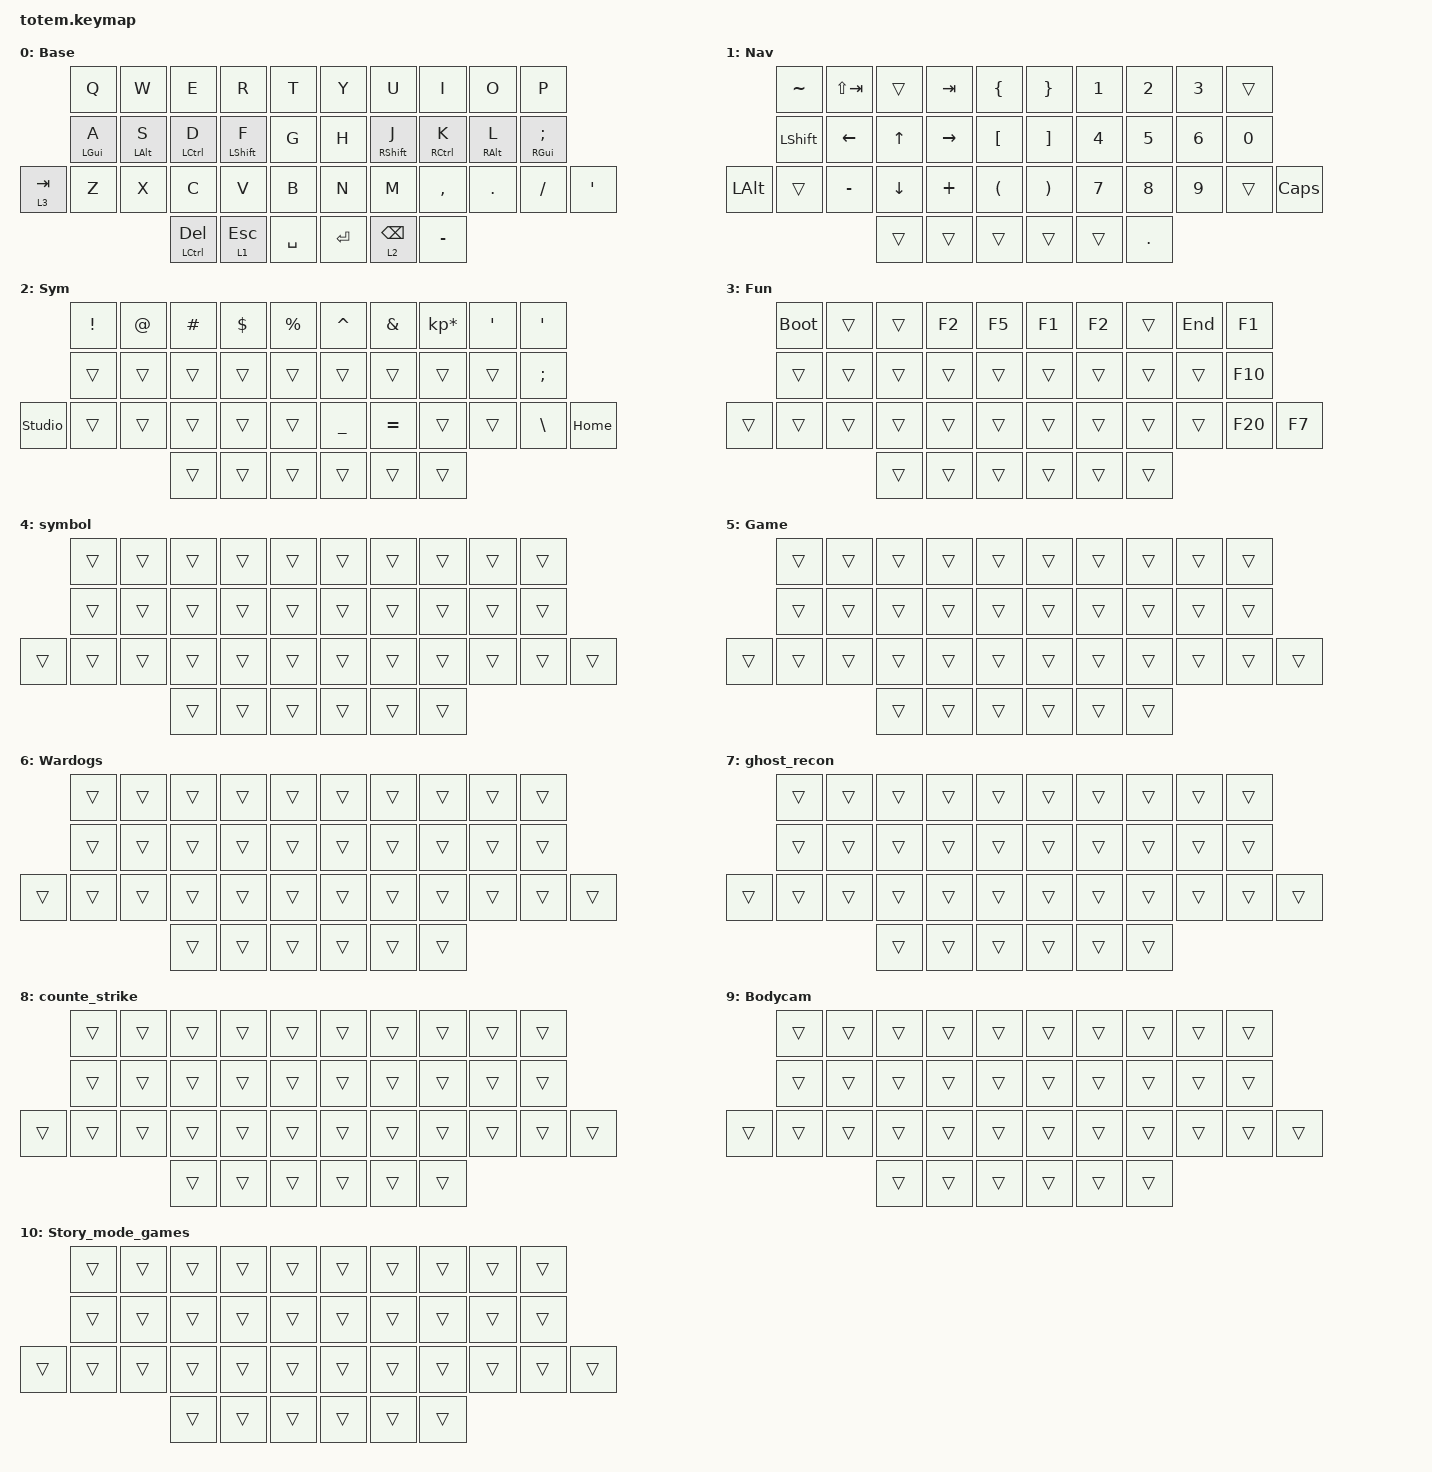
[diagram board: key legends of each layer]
//
//                                                        ▀▀▀▀▀     ▀▀▀▀▀          ▀▀█▀▀
//                                                        ▄▀▀▀▄  ▄  ▄▀▀▀▄  ▄  ▄▀▀▀▄  █  ▄▀▀▀▄
//                                                        █   █  █  █   █  █  █   █  █  █   █
//                                                         ▀▀▀   █   ▀▀▀   █   ▀▀▀   ▀   ▀▀▀
//                                                               █      ▄▄▄█▄▄▄    █   █  
//                                                               ▀      █  █  █     █▄█
//                                                             ▀▀▀▀▀    █  █  █      ▀
//                                                                      ▀  ▀  ▀
//
// ▄▄▄▄▄▄▄▄▄▄▄▄▄▄▄▄▄▄▄▄▄▄▄▄▄▄▄▄▄▄▄▄▄▄▄▄▄▄▄▄▄▄▄▄▄▄▄▄▄▄▄▄▄▄▄▄▄▄▄▄▄▄▄▄▄▄▄▄▄▄▄▄▄▄▄▄▄▄▄▄▄▄▄▄▄▄▄▄▄▄▄▄▄▄▄▄▄▄▄▄▄▄▄▄▄▄▄▄▄▄▄▄▄▄▄▄▄▄▄▄▄▄▄▄▄▄▄▄▄▄▄▄▄▄▄▄▄▄▄▄▄▄▄▄▄▄▄▄▄

#include <behaviors.dtsi>
#include <dt-bindings/zmk/keys.h>

#define Base        0
#define Nav         1
#define Sym         2
#define Fun         3
#define Game        4
#define Gameplus    5

&mt {
    quick-tap-ms = <100>;
    global-quick-tap;
    flavor = "tap-preferred";
    tapping-term-ms = <170>;
};

&lt {
    tapping-term-ms = <240>;
    flavor = "balanced";
    quick-tap-ms = <150>;
};

/ {
    behaviors {
        hm: homerow_mods {
            compatible = "zmk,behavior-hold-tap";
            label = "HOMEROW_MODS";
            #binding-cells = <2>;
            flavor = "tap-preferred";
            tapping-term-ms = <350>;
            quick-tap-ms = <125>;
            global-quick-tap;
            bindings = <&kp>, <&kp>;
        };
    };

    combos { compatible = "zmk,combos"; };

    keymap {
        compatible = "zmk,keymap";

        Base {
            display-name = "Base";
            bindings = <
           &kp Q       &kp W       &kp E          &kp R         &kp T        &kp Y    &kp U        &kp I        &kp O       &kp P
           &hm LGUI A  &hm LALT S  &hm LCTRL D    &hm LSHIFT F  &kp G        &kp H    &hm RSHFT J  &hm RCTRL K  &hm RALT L  &hm RGUI SEMICOLON
&lt 3 TAB  &kp Z       &kp X       &kp C          &kp V         &kp B        &kp N    &kp M        &kp COMMA    &kp DOT     &kp SLASH           &kp APOSTROPHE
                                   &mt LCTRL DEL  &lt 1 ESC     &kp SPACE    &kp RET  &lt 2 BSPC   &kp MINUS
            >;
        };

        Nav {
            display-name = "Nav";
            bindings = <
              &kp TILDE       &kp LS(TAB)  &trans        &kp TAB    &kp LBRC    &kp RBRC  &kp NUMBER_1  &kp NUMBER_2  &kp NUMBER_3  &trans
              &kp LEFT_SHIFT  &kp LEFT     &kp UP_ARROW  &kp RIGHT  &kp LBKT    &kp RBKT  &kp NUMBER_4  &kp NUMBER_5  &kp NUMBER_6  &kp NUMBER_0
&kp LEFT_ALT  &trans          &kp MINUS    &kp DOWN      &kp PLUS   &kp LPAR    &kp RPAR  &kp NUMBER_7  &kp NUMBER_8  &kp NUMBER_9  &trans        &kp CAPS
                                           &trans        &trans     &trans      &trans    &trans        &kp DOT
            >;
        };

        Sym {
            display-name = "Sym";
            bindings = <
                &kp EXCL  &kp AT  &kp HASH  &kp DOLLAR  &kp PERCENT    &kp CARET  &kp AMPERSAND  &kp KP_ASTERISK  &kp SINGLE_QUOTE  &kp SINGLE_QUOTE
                &trans    &trans  &trans    &trans      &trans         &trans     &trans         &trans           &trans            &kp SEMI
&studio_unlock  &trans    &trans  &trans    &trans      &trans         &kp UNDER  &kp EQUAL      &trans           &trans            &kp BACKSLASH     &kp HOME
                                  &trans    &trans      &trans         &trans     &trans         &trans
            >;
        };

        Fun {
            display-name = "Fun";
            bindings = <
        &bootloader  &trans  &trans  &kp F2  &kp F5    &kp F1  &kp F2  &trans  &kp END  &kp F1
        &trans       &trans  &trans  &trans  &trans    &trans  &trans  &trans  &trans   &kp F10
&trans  &trans       &trans  &trans  &trans  &trans    &trans  &trans  &trans  &trans   &kp F20  &kp F7
                             &trans  &trans  &trans    &trans  &trans  &trans
            >;
        };

        symbol {
            bindings = <
        &trans  &trans  &trans  &trans  &trans    &trans  &trans  &trans  &trans  &trans
        &trans  &trans  &trans  &trans  &trans    &trans  &trans  &trans  &trans  &trans
&trans  &trans  &trans  &trans  &trans  &trans    &trans  &trans  &trans  &trans  &trans  &trans
                        &trans  &trans  &trans    &trans  &trans  &trans
            >;
        };

        Game {
            bindings = <
        &trans  &trans  &trans  &trans  &trans    &trans  &trans  &trans  &trans  &trans
        &trans  &trans  &trans  &trans  &trans    &trans  &trans  &trans  &trans  &trans
&trans  &trans  &trans  &trans  &trans  &trans    &trans  &trans  &trans  &trans  &trans  &trans
                        &trans  &trans  &trans    &trans  &trans  &trans
            >;
        };

        Wardogs {
            bindings = <
        &trans  &trans  &trans  &trans  &trans    &trans  &trans  &trans  &trans  &trans
        &trans  &trans  &trans  &trans  &trans    &trans  &trans  &trans  &trans  &trans
&trans  &trans  &trans  &trans  &trans  &trans    &trans  &trans  &trans  &trans  &trans  &trans
                        &trans  &trans  &trans    &trans  &trans  &trans
            >;
        };

        ghost_recon {
            bindings = <
        &trans  &trans  &trans  &trans  &trans    &trans  &trans  &trans  &trans  &trans
        &trans  &trans  &trans  &trans  &trans    &trans  &trans  &trans  &trans  &trans
&trans  &trans  &trans  &trans  &trans  &trans    &trans  &trans  &trans  &trans  &trans  &trans
                        &trans  &trans  &trans    &trans  &trans  &trans
            >;
        };

        counte_strike {
            bindings = <
        &trans  &trans  &trans  &trans  &trans    &trans  &trans  &trans  &trans  &trans
        &trans  &trans  &trans  &trans  &trans    &trans  &trans  &trans  &trans  &trans
&trans  &trans  &trans  &trans  &trans  &trans    &trans  &trans  &trans  &trans  &trans  &trans
                        &trans  &trans  &trans    &trans  &trans  &trans
            >;
        };

        Bodycam {
            bindings = <
        &trans  &trans  &trans  &trans  &trans    &trans  &trans  &trans  &trans  &trans
        &trans  &trans  &trans  &trans  &trans    &trans  &trans  &trans  &trans  &trans
&trans  &trans  &trans  &trans  &trans  &trans    &trans  &trans  &trans  &trans  &trans  &trans
                        &trans  &trans  &trans    &trans  &trans  &trans
            >;
        };

        Story_mode_games {
            bindings = <
        &trans  &trans  &trans  &trans  &trans    &trans  &trans  &trans  &trans  &trans
        &trans  &trans  &trans  &trans  &trans    &trans  &trans  &trans  &trans  &trans
&trans  &trans  &trans  &trans  &trans  &trans    &trans  &trans  &trans  &trans  &trans  &trans
                        &trans  &trans  &trans    &trans  &trans  &trans
            >;
        };
    };
};
